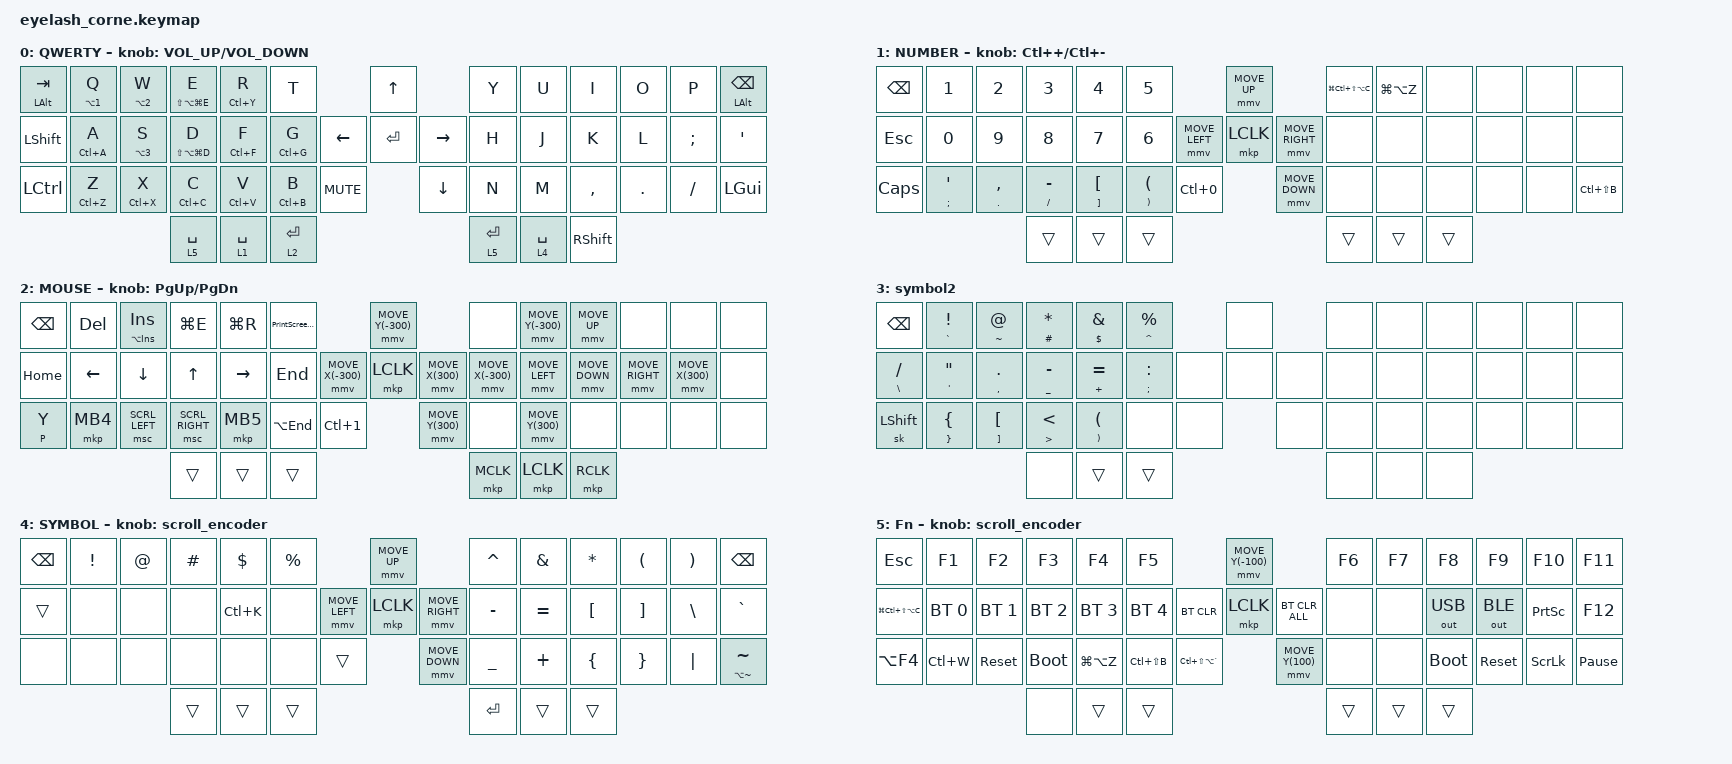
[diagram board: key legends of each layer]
#include <dt-bindings/zmk/mouse.h>
#include <input/processors.dtsi>
#include <behaviors.dtsi>
#include <dt-bindings/zmk/bt.h>
#include <dt-bindings/zmk/keys.h>
#include <dt-bindings/zmk/outputs.h>
#include <dt-bindings/zmk/pointing.h>
#include <dt-bindings/zmk/rgb.h>

/*

   &mmv_input_listener {
       input-processors = <&zip_xy_scaler 2 1>;
   };

   &msc_input_listener {
       input-processors = <&zip_xy_scaler 2 1>;
   };

 */

#define ZMK_MOUSE_DEFAULT_MOVE_VAL 1200  // 600
#define ZMK_MOUSE_DEFAULT_SCRL_VAL 20    // 10

//rpi: require_prior_idle {
// compatible = "zmk,behavior-hold-tap";
// #binding-cells = <2>;
// flavor = "tap-preferred";
// tapping-term-ms = <200>;
// quick-tap-ms = <200>;
// require-prior-idle-ms = <125>;
// bindings = <&kp>, <&kp>;
//};

&mt {
    flavor = "tap-preferred";	//优先识别为点击而非长按
    tapping-term-ms = <260>;            // 默认200ms，可据需要调整   判断“敲击”和“长按”的关键时间阈值。值越大，需等待更长时间才能判断是长按
    quick-tap-ms = <216>;               // 设置快速点按窗口          判断“快速敲击”的时间窗口。值越大，认为是快速敲击的时间就越长。
    global-quick-tap;                   // 启用全局快速点按功能
    hold-trigger-on-release;            // 在释放时才触发长按
    require-prior-idle-ms = <350>;      // 值越大，快速输入时hold越不易被激发
};

&sk { release-after-ms = <3000>; };

/ {
    behaviors {
        //        Xdot_dance_shift2capslock: Xdot_dance_shift2capslock {
        //            compatible = "zmk,behavior-tap-dance";
        //            display-name = "Shift/Caps Lock Tap Dance";
        //            #binding-cells = <0>;
        //            bindings = <&kp LEFT_SHIFT>, <&kp CAPS>;
        //        };
        //
        //        Xdot_dance_alt2shift: Xdot_dance_alt2shift {
        //            compatible = "zmk,behavior-tap-dance";
        //            display-name = "Alt/Shift Tap Dance";
        //            #binding-cells = <0>;
        //
        //            //bindings = <&kp LEFT_ALT>, <&mod_morph_shift>;
        //
        //            bindings = <&kp LEFT_ALT>, <&sk LEFT_SHIFT>;
        //
        //            //tapping-term-ms = <200>;                       // 设置双击时间窗口
        //            //quick-tap-ms = <150>;                          // 短按时间
        //        };

        Xdot_shift2shift: Xdot_shift2shift {
            compatible = "zmk,behavior-tap-dance";
            display-name = "Shift/Shift Tap Dance";
            #binding-cells = <0>;
            bindings = <&kp LEFT_SHIFT>, <&sk LEFT_SHIFT>;

            tapping-term-ms = <300>;
        };

        Xdot_alt2caps: Xdot_alt2caps {
            compatible = "zmk,behavior-tap-dance";
            display-name = "Alt/Caps Lock Tap Dance";
            #binding-cells = <0>;

            //bindings = <&kp LEFT_ALT>, <&mod_morph_shift>;

            bindings = <&kp LEFT_ALT>, <&kp CAPS>;

            //tapping-term-ms = <200>;                        // 设置双击时间窗口
            //quick-tap-ms = <150>;                           // 短按时间
        };

        Xdot_del2enter: Xdot_del2enter {
            compatible = "zmk,behavior-tap-dance";
            display-name = "Delete/Delete Tap Dance";
            #binding-cells = <0>;
            bindings = <&lt 0 DELETE>, <&kp BSPC>, <&kp ENTER>;

            tapping-term-ms = <190>;                          // 设置双击时间窗口
            //quick-tap-ms = <150>;                           // 短按时间
        };

        //        Xdot_E_combo: Xdot_E_combo {
        //            compatible = "zmk,behavior-tap-dance";
        //            display-name = "E with Alt3 and WinE";
        //            #binding-cells = <0>;
        //            bindings = <&mt LALT KP_N3 E>, <&kp LG(E)>;
        //
        //            //            tapping-term-ms = <200>;
        //        };

        Xdot_E_combo: Xdot_E_combo {
            compatible = "zmk,behavior-tap-dance";
            display-name = "E with Alt3 and WinE";
            #binding-cells = <0>;
            bindings = <&mt LA(N3) E>, <&kp LG(E)>;
        };

        //        Xdot_R_combo: Xdot_R_combo {
        //            compatible = "zmk,behavior-tap-dance";
        //            display-name = "R with CtrlY and WinR";
        //            #binding-cells = <0>;
        //            bindings = <&mt LCTRL Y R>, <&kp LG(R)>;
        //        };

        Xdot_R_combo: Xdot_R_combo {
            compatible = "zmk,behavior-tap-dance";
            display-name = "R with CtrlY and WinR";
            #binding-cells = <0>;
            bindings = <&mt LC(Y) R>, <&kp LG(R)>;
        };

        Xdot_LayerMORE_combo: Xdot_LayerMORE_combo {
            compatible = "zmk,behavior-tap-dance";
            label = "XDOT_LAYERMORE_COMBO";
            #binding-cells = <0>;
            bindings = <&lt 4 HOME>, <&kp END>;
        };

        PrintScreen2FastStone: PrintScreen2FastStone {
            compatible = "zmk,behavior-tap-dance";
            label = "PRINTSCREEN2FASTSTONE";
            #binding-cells = <0>;
            bindings =
                <&mt LC(LS(PRINTSCREEN)) LS(PRINTSCREEN)>,
                <&kp LC(PRINTSCREEN)>,
                <&kp LC(LS(LA(PRINTSCREEN)))>;

            tapping-term-ms = <650>;
        };

        Xdot_Fn_Dance: Xdot_Fn_Dance {
            compatible = "zmk,behavior-tap-dance";
            label = "XDOT_FN_DANCE";
            #binding-cells = <0>;
            bindings = <&lt 3 SPACE>, <&kp CAPSLOCK>;

            tapping-term-ms = <1160>;
        };
    };

    rgb_encoder: rgb_encoder {
        compatible = "zmk,behavior-sensor-rotate";
        #sensor-binding-cells = <0>;
        bindings = <&rgb_ug RGB_BRI>, <&rgb_ug RGB_BRD>;
    };

    scroll_encoder: scroll_encoder {
        compatible = "zmk,behavior-sensor-rotate";
        #sensor-binding-cells = <0>;
        bindings = <&msc SCRL_DOWN>, <&msc SCRL_UP>;

        tap-ms = <30>;
    };

    combos {
        compatible = "zmk,combos";

        Combos2LayerFn {
            bindings = <&mo 3>;
            key-positions = <43 44>;
            layers = <0>;
            require-prior-idle-ms = <100>;
            slow-release;
        };
    };

    keymap {
        compatible = "zmk,keymap";

        default_layer {
            display-name = "QWERTY";
            bindings = <
&mt LEFT_ALT TAB  &mt LA(N1) Q  &mt LA(N2) W  &mt LS(LA(LG(E))) E  &mt LC(Y) R  &kp T                                &kp UP                &kp Y        &kp U        &kp I            &kp O    &kp P     &mt LEFT_ALT BACKSPACE
&kp LEFT_SHIFT    &mt LC(A) A   &mt LA(N3) S  &mt LS(LA(LG(D))) D  &mt LC(F) F  &mt LC(G) G                &kp LEFT  &kp ENTER  &kp RIGHT  &kp H        &kp J        &kp K            &kp L    &kp SEMI  &kp SQT
&kp LCTRL         &mt LC(Z) Z   &mt LC(X) X   &mt LC(C) C          &mt LC(V) V  &mt LC(B) B  &kp C_MUTE              &kp DOWN              &kp N        &kp M        &kp COMMA        &kp DOT  &kp FSLH  &kp LEFT_GUI
                                              &lt 5 SPACE          &lt 1 SPACE  &lt 2 ENTER                                                &lt 5 ENTER  &lt 4 SPACE  &kp RIGHT_SHIFT
            >;

            sensor-bindings = <&inc_dec_kp C_VOLUME_UP C_VOLUME_DOWN>;
        };

        number_layer {
            display-name = "NUMBER";
            bindings = <
&kp BACKSPACE  &kp N1                      &kp N2            &kp N3           &kp N4                          &kp N5                                                                &mmv MOVE_UP                     &kp LG(LC(LS(LA(C))))  &kp LG(LA(Z))  &none   &none  &none  &none
&kp ESCAPE     &kp N0                      &kp N9            &kp N8           &kp N7                          &kp N6                                                &mmv MOVE_LEFT  &mkp LCLK       &mmv MOVE_RIGHT  &none                  &none          &none   &none  &none  &none
&kp CAPSLOCK   &mt SEMICOLON SINGLE_QUOTE  &mt PERIOD COMMA  &mt SLASH MINUS  &mt RIGHT_BRACKET LEFT_BRACKET  &mt RIGHT_PARENTHESIS LEFT_PARENTHESIS  &kp LC(N0)                    &mmv MOVE_DOWN                   &none                  &none          &none   &none  &none  &kp LC(LS(B))
                                                             &trans           &trans                          &trans                                                                                                 &trans                 &trans         &trans
            >;

            sensor-bindings = <&inc_dec_kp LC(PLUS) LC(MINUS)>;
        };

        mouse_layer {
            display-name = "MOUSE";
            bindings = <
&kp BACKSPACE  &kp DELETE      &mt LA(INSERT) INSERT  &kp LG(E)        &kp LG(R)        &PrintScreen2FastStone                                   &mmv MOVE_Y(-300)                    &none              &mmv MOVE_Y(-300)  &mmv MOVE_UP    &none            &none             &none
&kp HOME       &kp LEFT_ARROW  &kp DOWN_ARROW         &kp UP_ARROW     &kp RIGHT_ARROW  &kp END                               &mmv MOVE_X(-300)  &mkp LCLK          &mmv MOVE_X(300)  &mmv MOVE_X(-300)  &mmv MOVE_LEFT     &mmv MOVE_DOWN  &mmv MOVE_RIGHT  &mmv MOVE_X(300)  &none
&mt P Y        &mkp MB4        &msc SCRL_LEFT         &msc SCRL_RIGHT  &mkp MB5         &kp LA(END)             &kp LC(N1)                       &mmv MOVE_Y(300)                     &none              &mmv MOVE_Y(300)   &none           &none            &none             &none
                                                      &trans           &trans           &trans                                                                                        &mkp MCLK          &mkp LCLK          &mkp RCLK
            >;

            sensor-bindings = <&inc_dec_kp PAGE_UP PAGE_DOWN>;
        };

        symbol2 {
            bindings = <
&kp BACKSPACE        &mt GRAVE EXCLAMATION           &mt TILDE AT_SIGN               &mt HASH ASTERISK           &mt DOLLAR AMPERSAND                    &mt CARET PERCENT                    &none         &none  &none  &none  &none  &none  &none
&mt BACKSLASH SLASH  &mt SINGLE_QUOTE DOUBLE_QUOTES  &mt COMMA PERIOD                &mt UNDERSCORE MINUS        &mt PLUS EQUAL                          &mt SEMICOLON COLON           &none  &none  &none  &none  &none  &none  &none  &none  &none
&sk LEFT_SHIFT       &mt RIGHT_BRACE LEFT_BRACE      &mt RIGHT_BRACKET LEFT_BRACKET  &mt GREATER_THAN LESS_THAN  &mt RIGHT_PARENTHESIS LEFT_PARENTHESIS  &none                &none           &none         &none  &none  &none  &none  &none  &none
                                                                                     &none                       &trans                                  &trans                                             &none  &none  &none
            >;
        };

        symbol_layer {
            display-name = "SYMBOL";
            bindings = <
&kp BACKSPACE  &kp EXCL  &kp AT  &kp HASH  &kp DLLR   &kp PRCNT                            &mmv MOVE_UP                     &kp CARET  &kp AMPS   &kp ASTRK  &kp LPAR  &kp RPAR  &kp BSPC
&trans         &none     &none   &none     &kp LC(K)  &none                &mmv MOVE_LEFT  &mkp LCLK       &mmv MOVE_RIGHT  &kp MINUS  &kp EQUAL  &kp LBKT   &kp RBKT  &kp BSLH  &kp GRAVE
&none          &none     &none   &none     &none      &none      &trans                    &mmv MOVE_DOWN                   &kp UNDER  &kp PLUS   &kp LBRC   &kp RBRC  &kp PIPE  &mt LA(TILDE) TILDE
                                 &trans    &trans     &trans                                                                &kp RET    &trans     &trans
            >;

            sensor-bindings = <&scroll_encoder>;
        };

        fn_layer {
            display-name = "Fn";
            bindings = <
&kp ESCAPE             &kp F1        &kp F2        &kp F3        &kp F4         &kp F5                                              &mmv MOVE_Y(-100)                  &kp F6  &kp F7  &kp F8        &kp F9        &kp F10          &kp F11
&kp LG(LC(LS(LA(C))))  &bt BT_SEL 0  &bt BT_SEL 1  &bt BT_SEL 2  &bt BT_SEL 3   &bt BT_SEL 4                            &bt BT_CLR  &mkp LCLK          &bt BT_CLR_ALL  &none   &none   &out OUT_USB  &out OUT_BLE  &kp PRINTSCREEN  &kp F12
&kp LA(F4)             &kp LC(W)     &sys_reset    &bootloader   &kp LG(LA(Z))  &kp LC(LS(B))  &kp LC(LS(LA(GRAVE)))                &mmv MOVE_Y(100)                   &none   &none   &bootloader   &sys_reset    &kp SCROLLLOCK   &kp PAUSE_BREAK
                                                   &none         &trans         &trans                                                                                 &trans  &trans  &trans
            >;

            sensor-bindings = <&scroll_encoder>;
        };
    };
};
